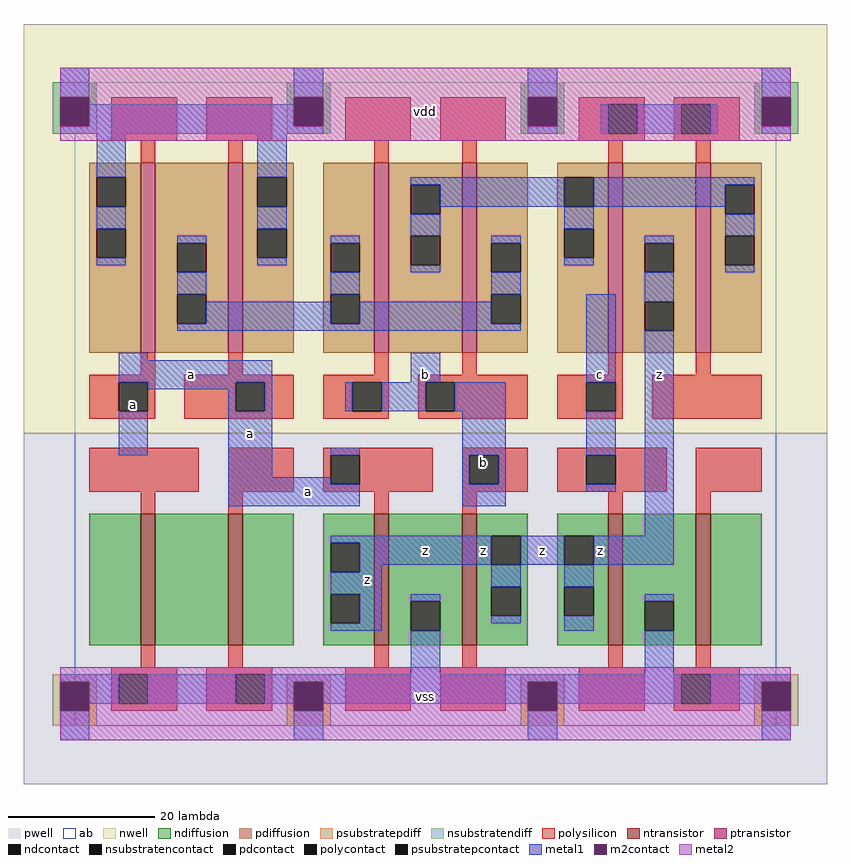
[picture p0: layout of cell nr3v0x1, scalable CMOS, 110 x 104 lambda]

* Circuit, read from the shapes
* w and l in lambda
.subckt nr3v0x1 a b c vdd vss z
M1 n1 vss n2 vss nfet w=18 l=2
M2 n3 vss n1 vss nfet w=18 l=2
M3 vss a z vss nfet w=18 l=2
M4 z b vss vss nfet w=18 l=2
M5 vss c z vss nfet w=18 l=2
M6 n4 vss vss vss nfet w=18 l=2
M7 n5 a vdd vdd pfet w=26 l=2 m=2
M8 n6 b n5 vdd pfet w=26 l=2 m=2
M9 z c n6 vdd pfet w=26 l=2 m=2
.ends

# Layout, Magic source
magic
tech scmos
<< ab >>
rect 0 0 96 88
<< pwell >>
rect -7 -8 103 40
<< nwell >>
rect -7 40 103 96
<< polysilicon >>
rect 5 80 14 86
rect 18 80 27 86
rect 37 80 46 86
rect 50 80 59 86
rect 69 85 78 86
rect 69 81 73 85
rect 77 81 78 85
rect 69 80 78 81
rect 82 85 91 86
rect 82 81 83 85
rect 87 81 91 85
rect 82 80 91 81
rect 9 77 11 80
rect 21 77 23 80
rect 41 77 43 80
rect 53 77 55 80
rect 73 77 75 80
rect 85 77 87 80
rect 9 48 11 51
rect 21 48 23 51
rect 41 48 43 51
rect 53 48 55 51
rect 73 48 75 51
rect 85 48 87 51
rect 2 47 11 48
rect 2 43 6 47
rect 10 43 11 47
rect 2 42 11 43
rect 15 47 30 48
rect 15 43 22 47
rect 26 43 30 47
rect 15 42 30 43
rect 34 47 43 48
rect 34 43 38 47
rect 42 43 43 47
rect 34 42 43 43
rect 47 47 62 48
rect 47 43 48 47
rect 52 43 62 47
rect 47 42 62 43
rect 66 47 75 48
rect 66 43 70 47
rect 74 43 75 47
rect 66 42 75 43
rect 79 42 94 48
rect 2 32 17 38
rect 21 32 30 38
rect 34 37 49 38
rect 34 33 35 37
rect 39 33 49 37
rect 34 32 49 33
rect 53 37 62 38
rect 53 33 54 37
rect 58 33 62 37
rect 53 32 62 33
rect 66 37 81 38
rect 66 33 70 37
rect 74 33 81 37
rect 66 32 81 33
rect 85 32 94 38
rect 9 29 11 32
rect 21 29 23 32
rect 41 29 43 32
rect 53 29 55 32
rect 73 29 75 32
rect 85 29 87 32
rect 9 8 11 11
rect 21 8 23 11
rect 41 8 43 11
rect 53 8 55 11
rect 73 8 75 11
rect 85 8 87 11
rect 5 7 14 8
rect 5 3 6 7
rect 10 3 14 7
rect 5 2 14 3
rect 18 7 27 8
rect 18 3 22 7
rect 26 3 27 7
rect 18 2 27 3
rect 37 2 46 8
rect 50 2 59 8
rect 69 2 78 8
rect 82 7 91 8
rect 82 3 83 7
rect 87 3 91 7
rect 82 2 91 3
<< ndiffusion >>
rect 2 11 9 29
rect 11 11 21 29
rect 23 11 30 29
rect 34 25 41 29
rect 34 21 35 25
rect 39 21 41 25
rect 34 18 41 21
rect 34 14 35 18
rect 39 14 41 18
rect 34 11 41 14
rect 43 17 53 29
rect 43 13 46 17
rect 50 13 53 17
rect 43 11 53 13
rect 55 26 62 29
rect 55 22 57 26
rect 61 22 62 26
rect 55 19 62 22
rect 55 15 57 19
rect 61 15 62 19
rect 55 11 62 15
rect 66 26 73 29
rect 66 22 67 26
rect 71 22 73 26
rect 66 19 73 22
rect 66 15 67 19
rect 71 15 73 19
rect 66 11 73 15
rect 75 17 85 29
rect 75 13 78 17
rect 82 13 85 17
rect 75 11 85 13
rect 87 11 94 29
<< pdiffusion >>
rect 2 75 9 77
rect 2 71 3 75
rect 7 71 9 75
rect 2 68 9 71
rect 2 64 3 68
rect 7 64 9 68
rect 2 51 9 64
rect 11 66 21 77
rect 11 62 14 66
rect 18 62 21 66
rect 11 59 21 62
rect 11 55 14 59
rect 18 55 21 59
rect 11 51 21 55
rect 23 75 30 77
rect 23 71 25 75
rect 29 71 30 75
rect 23 68 30 71
rect 23 64 25 68
rect 29 64 30 68
rect 23 51 30 64
rect 34 66 41 77
rect 34 62 35 66
rect 39 62 41 66
rect 34 59 41 62
rect 34 55 35 59
rect 39 55 41 59
rect 34 51 41 55
rect 43 74 53 77
rect 43 70 46 74
rect 50 70 53 74
rect 43 67 53 70
rect 43 63 46 67
rect 50 63 53 67
rect 43 51 53 63
rect 55 66 62 77
rect 55 62 57 66
rect 61 62 62 66
rect 55 59 62 62
rect 55 55 57 59
rect 61 55 62 59
rect 55 51 62 55
rect 66 75 73 77
rect 66 71 67 75
rect 71 71 73 75
rect 66 68 73 71
rect 66 64 67 68
rect 71 64 73 68
rect 66 51 73 64
rect 75 66 85 77
rect 75 62 78 66
rect 82 62 85 66
rect 75 58 85 62
rect 75 54 78 58
rect 82 54 85 58
rect 75 51 85 54
rect 87 74 94 77
rect 87 70 89 74
rect 93 70 94 74
rect 87 67 94 70
rect 87 63 89 67
rect 93 63 94 67
rect 87 51 94 63
<< metal1 >>
rect -2 86 2 90
rect 30 86 34 90
rect 2 82 30 85
rect -2 81 34 82
rect 62 86 66 90
rect 94 86 98 90
rect 62 81 66 82
rect 72 81 73 85
rect 77 81 83 85
rect 87 81 88 85
rect 94 81 98 82
rect 3 75 7 81
rect 3 68 7 71
rect 25 75 29 81
rect 25 68 29 71
rect 3 63 7 64
rect 14 66 18 67
rect 46 74 67 75
rect 50 71 67 74
rect 71 74 93 75
rect 71 71 89 74
rect 46 67 50 70
rect 67 68 71 71
rect 25 63 29 64
rect 35 66 39 67
rect 14 59 18 62
rect 46 62 50 63
rect 57 66 61 67
rect 89 67 93 70
rect 67 63 71 64
rect 78 66 82 67
rect 35 59 39 62
rect 18 55 35 58
rect 57 59 61 62
rect 89 62 93 63
rect 39 55 57 58
rect 14 54 61 55
rect 6 50 10 51
rect 6 47 27 50
rect 46 47 50 51
rect 70 47 74 59
rect 10 46 22 47
rect 6 37 10 43
rect 21 43 22 46
rect 26 43 27 47
rect 37 43 38 47
rect 42 43 48 47
rect 52 43 59 47
rect 21 34 27 43
rect 35 37 39 38
rect 21 33 35 34
rect 21 30 39 33
rect 53 37 59 43
rect 53 33 54 37
rect 58 33 59 37
rect 53 30 59 33
rect 70 37 74 43
rect 70 32 74 33
rect 78 58 82 62
rect 78 26 82 54
rect 35 25 57 26
rect 39 22 57 25
rect 61 22 67 26
rect 71 22 82 26
rect 39 21 42 22
rect 35 18 42 21
rect 57 19 61 22
rect 39 14 42 18
rect 35 13 42 14
rect 46 17 50 18
rect 57 14 61 15
rect 67 19 71 22
rect 67 13 71 15
rect 78 17 82 18
rect 46 7 50 13
rect 78 7 82 13
rect -2 6 6 7
rect 2 3 6 6
rect 10 3 22 7
rect 26 6 83 7
rect 26 3 30 6
rect -2 -2 2 2
rect 34 3 62 6
rect 30 -2 34 2
rect 66 3 83 6
rect 87 6 98 7
rect 87 3 94 6
rect 62 -2 66 2
rect 94 -2 98 2
<< metal2 >>
rect -2 86 98 90
rect 2 82 30 86
rect 34 82 62 86
rect 66 82 94 86
rect -2 80 98 82
rect -2 6 98 8
rect 2 2 30 6
rect 34 2 62 6
rect 66 2 94 6
rect -2 -2 98 2
<< ntransistor >>
rect 9 11 11 29
rect 21 11 23 29
rect 41 11 43 29
rect 53 11 55 29
rect 73 11 75 29
rect 85 11 87 29
<< ptransistor >>
rect 9 51 11 77
rect 21 51 23 77
rect 41 51 43 77
rect 53 51 55 77
rect 73 51 75 77
rect 85 51 87 77
<< polycontact >>
rect 73 81 77 85
rect 83 81 87 85
rect 6 43 10 47
rect 22 43 26 47
rect 38 43 42 47
rect 48 43 52 47
rect 70 43 74 47
rect 35 33 39 37
rect 54 33 58 37
rect 70 33 74 37
rect 6 3 10 7
rect 22 3 26 7
rect 83 3 87 7
<< ndcontact >>
rect 35 21 39 25
rect 35 14 39 18
rect 46 13 50 17
rect 57 22 61 26
rect 57 15 61 19
rect 67 22 71 26
rect 67 15 71 19
rect 78 13 82 17
<< pdcontact >>
rect 3 71 7 75
rect 3 64 7 68
rect 14 62 18 66
rect 14 55 18 59
rect 25 71 29 75
rect 25 64 29 68
rect 35 62 39 66
rect 35 55 39 59
rect 46 70 50 74
rect 46 63 50 67
rect 57 62 61 66
rect 57 55 61 59
rect 67 71 71 75
rect 67 64 71 68
rect 78 62 82 66
rect 78 54 82 58
rect 89 70 93 74
rect 89 63 93 67
<< m2contact >>
rect -2 82 2 86
rect 30 82 34 86
rect 62 82 66 86
rect 94 82 98 86
rect -2 2 2 6
rect 30 2 34 6
rect 62 2 66 6
rect 94 2 98 6
<< psubstratepcontact >>
rect -2 2 2 6
rect 30 2 34 6
rect 62 2 66 6
rect 94 2 98 6
<< nsubstratencontact >>
rect -2 82 2 86
rect 30 82 34 86
rect 62 82 66 86
rect 94 82 98 86
<< psubstratepdiff >>
rect -3 6 3 7
rect -3 2 -2 6
rect 2 2 3 6
rect 29 6 35 7
rect 29 2 30 6
rect 34 2 35 6
rect 61 6 67 7
rect 61 2 62 6
rect 66 2 67 6
rect 93 6 99 7
rect 93 2 94 6
rect 98 2 99 6
rect -3 0 3 2
rect 29 0 35 2
rect 61 0 67 2
rect 93 0 99 2
<< nsubstratendiff >>
rect -3 86 3 88
rect 29 86 35 88
rect 61 86 67 88
rect 93 86 99 88
rect -3 82 -2 86
rect 2 82 3 86
rect -3 81 3 82
rect 29 82 30 86
rect 34 82 35 86
rect 29 81 35 82
rect 61 82 62 86
rect 66 82 67 86
rect 61 81 67 82
rect 93 82 94 86
rect 98 82 99 86
rect 93 81 99 82
<< labels >>
rlabel polycontact 8 44 8 44 6 a
rlabel metal1 32 32 32 32 6 a
rlabel metal1 16 48 16 48 6 a
rlabel metal1 24 40 24 40 6 a
rlabel metal1 40 20 40 20 6 z
rlabel metal1 56 24 56 24 6 z
rlabel metal1 48 24 48 24 6 z
rlabel polycontact 56 36 56 36 6 b
rlabel metal1 48 48 48 48 6 b
rlabel metal1 72 24 72 24 6 z
rlabel metal1 64 24 64 24 6 z
rlabel metal1 72 48 72 48 6 c
rlabel metal1 80 48 80 48 6 z
rlabel metal2 48 4 48 4 6 vss
rlabel metal2 48 84 48 84 6 vdd
<< end >>
